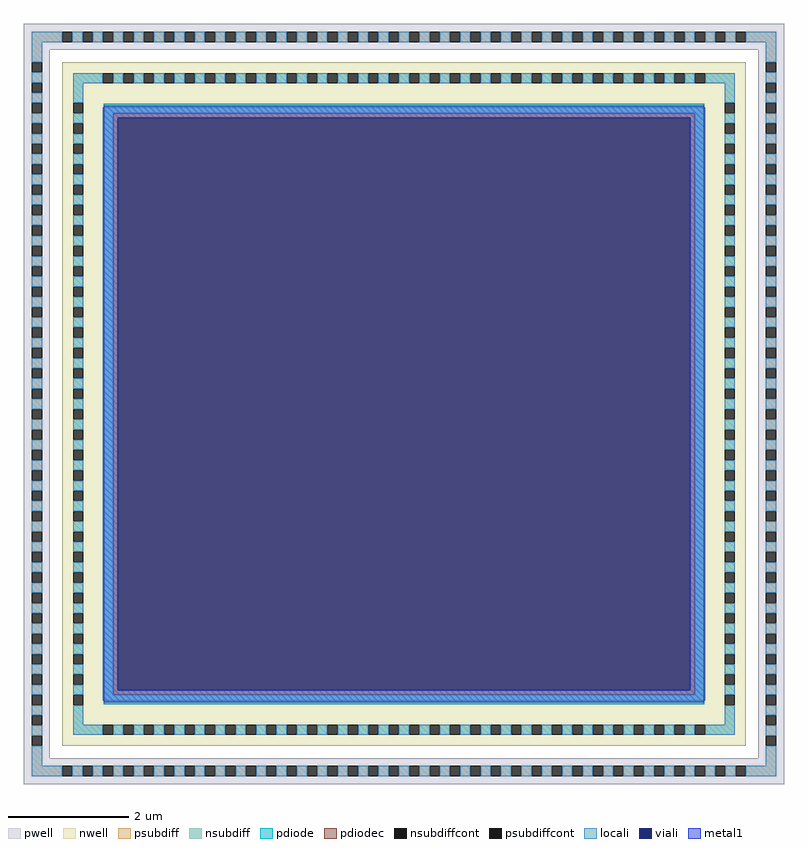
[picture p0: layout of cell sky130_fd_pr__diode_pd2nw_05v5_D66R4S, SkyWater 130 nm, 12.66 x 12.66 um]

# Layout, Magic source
magic
tech sky130A
magscale 1 2
<< nwell >>
rect -1138 -1138 1138 1138
<< pwell >>
rect -1266 1180 1266 1266
rect -1266 -1180 -1180 1180
rect 1180 -1180 1266 1180
rect -1266 -1266 1266 -1180
<< psubdiff >>
rect -1240 1206 -1139 1240
rect -1105 1206 -1071 1240
rect -1037 1206 -1003 1240
rect -969 1206 -935 1240
rect -901 1206 -867 1240
rect -833 1206 -799 1240
rect -765 1206 -731 1240
rect -697 1206 -663 1240
rect -629 1206 -595 1240
rect -561 1206 -527 1240
rect -493 1206 -459 1240
rect -425 1206 -391 1240
rect -357 1206 -323 1240
rect -289 1206 -255 1240
rect -221 1206 -187 1240
rect -153 1206 -119 1240
rect -85 1206 -51 1240
rect -17 1206 17 1240
rect 51 1206 85 1240
rect 119 1206 153 1240
rect 187 1206 221 1240
rect 255 1206 289 1240
rect 323 1206 357 1240
rect 391 1206 425 1240
rect 459 1206 493 1240
rect 527 1206 561 1240
rect 595 1206 629 1240
rect 663 1206 697 1240
rect 731 1206 765 1240
rect 799 1206 833 1240
rect 867 1206 901 1240
rect 935 1206 969 1240
rect 1003 1206 1037 1240
rect 1071 1206 1105 1240
rect 1139 1206 1240 1240
rect -1240 1139 -1206 1206
rect -1240 1071 -1206 1105
rect 1206 1139 1240 1206
rect -1240 1003 -1206 1037
rect -1240 935 -1206 969
rect -1240 867 -1206 901
rect -1240 799 -1206 833
rect -1240 731 -1206 765
rect -1240 663 -1206 697
rect -1240 595 -1206 629
rect -1240 527 -1206 561
rect -1240 459 -1206 493
rect -1240 391 -1206 425
rect -1240 323 -1206 357
rect -1240 255 -1206 289
rect -1240 187 -1206 221
rect -1240 119 -1206 153
rect -1240 51 -1206 85
rect -1240 -17 -1206 17
rect -1240 -85 -1206 -51
rect -1240 -153 -1206 -119
rect -1240 -221 -1206 -187
rect -1240 -289 -1206 -255
rect -1240 -357 -1206 -323
rect -1240 -425 -1206 -391
rect -1240 -493 -1206 -459
rect -1240 -561 -1206 -527
rect -1240 -629 -1206 -595
rect -1240 -697 -1206 -663
rect -1240 -765 -1206 -731
rect -1240 -833 -1206 -799
rect -1240 -901 -1206 -867
rect -1240 -969 -1206 -935
rect -1240 -1037 -1206 -1003
rect -1240 -1105 -1206 -1071
rect 1206 1071 1240 1105
rect 1206 1003 1240 1037
rect 1206 935 1240 969
rect 1206 867 1240 901
rect 1206 799 1240 833
rect 1206 731 1240 765
rect 1206 663 1240 697
rect 1206 595 1240 629
rect 1206 527 1240 561
rect 1206 459 1240 493
rect 1206 391 1240 425
rect 1206 323 1240 357
rect 1206 255 1240 289
rect 1206 187 1240 221
rect 1206 119 1240 153
rect 1206 51 1240 85
rect 1206 -17 1240 17
rect 1206 -85 1240 -51
rect 1206 -153 1240 -119
rect 1206 -221 1240 -187
rect 1206 -289 1240 -255
rect 1206 -357 1240 -323
rect 1206 -425 1240 -391
rect 1206 -493 1240 -459
rect 1206 -561 1240 -527
rect 1206 -629 1240 -595
rect 1206 -697 1240 -663
rect 1206 -765 1240 -731
rect 1206 -833 1240 -799
rect 1206 -901 1240 -867
rect 1206 -969 1240 -935
rect 1206 -1037 1240 -1003
rect -1240 -1206 -1206 -1139
rect 1206 -1105 1240 -1071
rect 1206 -1206 1240 -1139
rect -1240 -1240 -1139 -1206
rect -1105 -1240 -1071 -1206
rect -1037 -1240 -1003 -1206
rect -969 -1240 -935 -1206
rect -901 -1240 -867 -1206
rect -833 -1240 -799 -1206
rect -765 -1240 -731 -1206
rect -697 -1240 -663 -1206
rect -629 -1240 -595 -1206
rect -561 -1240 -527 -1206
rect -493 -1240 -459 -1206
rect -425 -1240 -391 -1206
rect -357 -1240 -323 -1206
rect -289 -1240 -255 -1206
rect -221 -1240 -187 -1206
rect -153 -1240 -119 -1206
rect -85 -1240 -51 -1206
rect -17 -1240 17 -1206
rect 51 -1240 85 -1206
rect 119 -1240 153 -1206
rect 187 -1240 221 -1206
rect 255 -1240 289 -1206
rect 323 -1240 357 -1206
rect 391 -1240 425 -1206
rect 459 -1240 493 -1206
rect 527 -1240 561 -1206
rect 595 -1240 629 -1206
rect 663 -1240 697 -1206
rect 731 -1240 765 -1206
rect 799 -1240 833 -1206
rect 867 -1240 901 -1206
rect 935 -1240 969 -1206
rect 1003 -1240 1037 -1206
rect 1071 -1240 1105 -1206
rect 1139 -1240 1240 -1206
<< nsubdiff >>
rect -1102 1068 -1003 1102
rect -969 1068 -935 1102
rect -901 1068 -867 1102
rect -833 1068 -799 1102
rect -765 1068 -731 1102
rect -697 1068 -663 1102
rect -629 1068 -595 1102
rect -561 1068 -527 1102
rect -493 1068 -459 1102
rect -425 1068 -391 1102
rect -357 1068 -323 1102
rect -289 1068 -255 1102
rect -221 1068 -187 1102
rect -153 1068 -119 1102
rect -85 1068 -51 1102
rect -17 1068 17 1102
rect 51 1068 85 1102
rect 119 1068 153 1102
rect 187 1068 221 1102
rect 255 1068 289 1102
rect 323 1068 357 1102
rect 391 1068 425 1102
rect 459 1068 493 1102
rect 527 1068 561 1102
rect 595 1068 629 1102
rect 663 1068 697 1102
rect 731 1068 765 1102
rect 799 1068 833 1102
rect 867 1068 901 1102
rect 935 1068 969 1102
rect 1003 1068 1102 1102
rect -1102 1003 -1068 1068
rect 1068 1003 1102 1068
rect -1102 935 -1068 969
rect -1102 867 -1068 901
rect -1102 799 -1068 833
rect -1102 731 -1068 765
rect -1102 663 -1068 697
rect -1102 595 -1068 629
rect -1102 527 -1068 561
rect -1102 459 -1068 493
rect -1102 391 -1068 425
rect -1102 323 -1068 357
rect -1102 255 -1068 289
rect -1102 187 -1068 221
rect -1102 119 -1068 153
rect -1102 51 -1068 85
rect -1102 -17 -1068 17
rect -1102 -85 -1068 -51
rect -1102 -153 -1068 -119
rect -1102 -221 -1068 -187
rect -1102 -289 -1068 -255
rect -1102 -357 -1068 -323
rect -1102 -425 -1068 -391
rect -1102 -493 -1068 -459
rect -1102 -561 -1068 -527
rect -1102 -629 -1068 -595
rect -1102 -697 -1068 -663
rect -1102 -765 -1068 -731
rect -1102 -833 -1068 -799
rect -1102 -901 -1068 -867
rect -1102 -969 -1068 -935
rect 1068 935 1102 969
rect 1068 867 1102 901
rect 1068 799 1102 833
rect 1068 731 1102 765
rect 1068 663 1102 697
rect 1068 595 1102 629
rect 1068 527 1102 561
rect 1068 459 1102 493
rect 1068 391 1102 425
rect 1068 323 1102 357
rect 1068 255 1102 289
rect 1068 187 1102 221
rect 1068 119 1102 153
rect 1068 51 1102 85
rect 1068 -17 1102 17
rect 1068 -85 1102 -51
rect 1068 -153 1102 -119
rect 1068 -221 1102 -187
rect 1068 -289 1102 -255
rect 1068 -357 1102 -323
rect 1068 -425 1102 -391
rect 1068 -493 1102 -459
rect 1068 -561 1102 -527
rect 1068 -629 1102 -595
rect 1068 -697 1102 -663
rect 1068 -765 1102 -731
rect 1068 -833 1102 -799
rect 1068 -901 1102 -867
rect 1068 -969 1102 -935
rect -1102 -1068 -1068 -1003
rect 1068 -1068 1102 -1003
rect -1102 -1102 -1003 -1068
rect -969 -1102 -935 -1068
rect -901 -1102 -867 -1068
rect -833 -1102 -799 -1068
rect -765 -1102 -731 -1068
rect -697 -1102 -663 -1068
rect -629 -1102 -595 -1068
rect -561 -1102 -527 -1068
rect -493 -1102 -459 -1068
rect -425 -1102 -391 -1068
rect -357 -1102 -323 -1068
rect -289 -1102 -255 -1068
rect -221 -1102 -187 -1068
rect -153 -1102 -119 -1068
rect -85 -1102 -51 -1068
rect -17 -1102 17 -1068
rect 51 -1102 85 -1068
rect 119 -1102 153 -1068
rect 187 -1102 221 -1068
rect 255 -1102 289 -1068
rect 323 -1102 357 -1068
rect 391 -1102 425 -1068
rect 459 -1102 493 -1068
rect 527 -1102 561 -1068
rect 595 -1102 629 -1068
rect 663 -1102 697 -1068
rect 731 -1102 765 -1068
rect 799 -1102 833 -1068
rect 867 -1102 901 -1068
rect 935 -1102 969 -1068
rect 1003 -1102 1102 -1068
<< psubdiffcont >>
rect -1139 1206 -1105 1240
rect -1071 1206 -1037 1240
rect -1003 1206 -969 1240
rect -935 1206 -901 1240
rect -867 1206 -833 1240
rect -799 1206 -765 1240
rect -731 1206 -697 1240
rect -663 1206 -629 1240
rect -595 1206 -561 1240
rect -527 1206 -493 1240
rect -459 1206 -425 1240
rect -391 1206 -357 1240
rect -323 1206 -289 1240
rect -255 1206 -221 1240
rect -187 1206 -153 1240
rect -119 1206 -85 1240
rect -51 1206 -17 1240
rect 17 1206 51 1240
rect 85 1206 119 1240
rect 153 1206 187 1240
rect 221 1206 255 1240
rect 289 1206 323 1240
rect 357 1206 391 1240
rect 425 1206 459 1240
rect 493 1206 527 1240
rect 561 1206 595 1240
rect 629 1206 663 1240
rect 697 1206 731 1240
rect 765 1206 799 1240
rect 833 1206 867 1240
rect 901 1206 935 1240
rect 969 1206 1003 1240
rect 1037 1206 1071 1240
rect 1105 1206 1139 1240
rect -1240 1105 -1206 1139
rect 1206 1105 1240 1139
rect -1240 1037 -1206 1071
rect -1240 969 -1206 1003
rect -1240 901 -1206 935
rect -1240 833 -1206 867
rect -1240 765 -1206 799
rect -1240 697 -1206 731
rect -1240 629 -1206 663
rect -1240 561 -1206 595
rect -1240 493 -1206 527
rect -1240 425 -1206 459
rect -1240 357 -1206 391
rect -1240 289 -1206 323
rect -1240 221 -1206 255
rect -1240 153 -1206 187
rect -1240 85 -1206 119
rect -1240 17 -1206 51
rect -1240 -51 -1206 -17
rect -1240 -119 -1206 -85
rect -1240 -187 -1206 -153
rect -1240 -255 -1206 -221
rect -1240 -323 -1206 -289
rect -1240 -391 -1206 -357
rect -1240 -459 -1206 -425
rect -1240 -527 -1206 -493
rect -1240 -595 -1206 -561
rect -1240 -663 -1206 -629
rect -1240 -731 -1206 -697
rect -1240 -799 -1206 -765
rect -1240 -867 -1206 -833
rect -1240 -935 -1206 -901
rect -1240 -1003 -1206 -969
rect -1240 -1071 -1206 -1037
rect 1206 1037 1240 1071
rect 1206 969 1240 1003
rect 1206 901 1240 935
rect 1206 833 1240 867
rect 1206 765 1240 799
rect 1206 697 1240 731
rect 1206 629 1240 663
rect 1206 561 1240 595
rect 1206 493 1240 527
rect 1206 425 1240 459
rect 1206 357 1240 391
rect 1206 289 1240 323
rect 1206 221 1240 255
rect 1206 153 1240 187
rect 1206 85 1240 119
rect 1206 17 1240 51
rect 1206 -51 1240 -17
rect 1206 -119 1240 -85
rect 1206 -187 1240 -153
rect 1206 -255 1240 -221
rect 1206 -323 1240 -289
rect 1206 -391 1240 -357
rect 1206 -459 1240 -425
rect 1206 -527 1240 -493
rect 1206 -595 1240 -561
rect 1206 -663 1240 -629
rect 1206 -731 1240 -697
rect 1206 -799 1240 -765
rect 1206 -867 1240 -833
rect 1206 -935 1240 -901
rect 1206 -1003 1240 -969
rect 1206 -1071 1240 -1037
rect -1240 -1139 -1206 -1105
rect 1206 -1139 1240 -1105
rect -1139 -1240 -1105 -1206
rect -1071 -1240 -1037 -1206
rect -1003 -1240 -969 -1206
rect -935 -1240 -901 -1206
rect -867 -1240 -833 -1206
rect -799 -1240 -765 -1206
rect -731 -1240 -697 -1206
rect -663 -1240 -629 -1206
rect -595 -1240 -561 -1206
rect -527 -1240 -493 -1206
rect -459 -1240 -425 -1206
rect -391 -1240 -357 -1206
rect -323 -1240 -289 -1206
rect -255 -1240 -221 -1206
rect -187 -1240 -153 -1206
rect -119 -1240 -85 -1206
rect -51 -1240 -17 -1206
rect 17 -1240 51 -1206
rect 85 -1240 119 -1206
rect 153 -1240 187 -1206
rect 221 -1240 255 -1206
rect 289 -1240 323 -1206
rect 357 -1240 391 -1206
rect 425 -1240 459 -1206
rect 493 -1240 527 -1206
rect 561 -1240 595 -1206
rect 629 -1240 663 -1206
rect 697 -1240 731 -1206
rect 765 -1240 799 -1206
rect 833 -1240 867 -1206
rect 901 -1240 935 -1206
rect 969 -1240 1003 -1206
rect 1037 -1240 1071 -1206
rect 1105 -1240 1139 -1206
<< nsubdiffcont >>
rect -1003 1068 -969 1102
rect -935 1068 -901 1102
rect -867 1068 -833 1102
rect -799 1068 -765 1102
rect -731 1068 -697 1102
rect -663 1068 -629 1102
rect -595 1068 -561 1102
rect -527 1068 -493 1102
rect -459 1068 -425 1102
rect -391 1068 -357 1102
rect -323 1068 -289 1102
rect -255 1068 -221 1102
rect -187 1068 -153 1102
rect -119 1068 -85 1102
rect -51 1068 -17 1102
rect 17 1068 51 1102
rect 85 1068 119 1102
rect 153 1068 187 1102
rect 221 1068 255 1102
rect 289 1068 323 1102
rect 357 1068 391 1102
rect 425 1068 459 1102
rect 493 1068 527 1102
rect 561 1068 595 1102
rect 629 1068 663 1102
rect 697 1068 731 1102
rect 765 1068 799 1102
rect 833 1068 867 1102
rect 901 1068 935 1102
rect 969 1068 1003 1102
rect -1102 969 -1068 1003
rect -1102 901 -1068 935
rect -1102 833 -1068 867
rect -1102 765 -1068 799
rect -1102 697 -1068 731
rect -1102 629 -1068 663
rect -1102 561 -1068 595
rect -1102 493 -1068 527
rect -1102 425 -1068 459
rect -1102 357 -1068 391
rect -1102 289 -1068 323
rect -1102 221 -1068 255
rect -1102 153 -1068 187
rect -1102 85 -1068 119
rect -1102 17 -1068 51
rect -1102 -51 -1068 -17
rect -1102 -119 -1068 -85
rect -1102 -187 -1068 -153
rect -1102 -255 -1068 -221
rect -1102 -323 -1068 -289
rect -1102 -391 -1068 -357
rect -1102 -459 -1068 -425
rect -1102 -527 -1068 -493
rect -1102 -595 -1068 -561
rect -1102 -663 -1068 -629
rect -1102 -731 -1068 -697
rect -1102 -799 -1068 -765
rect -1102 -867 -1068 -833
rect -1102 -935 -1068 -901
rect -1102 -1003 -1068 -969
rect 1068 969 1102 1003
rect 1068 901 1102 935
rect 1068 833 1102 867
rect 1068 765 1102 799
rect 1068 697 1102 731
rect 1068 629 1102 663
rect 1068 561 1102 595
rect 1068 493 1102 527
rect 1068 425 1102 459
rect 1068 357 1102 391
rect 1068 289 1102 323
rect 1068 221 1102 255
rect 1068 153 1102 187
rect 1068 85 1102 119
rect 1068 17 1102 51
rect 1068 -51 1102 -17
rect 1068 -119 1102 -85
rect 1068 -187 1102 -153
rect 1068 -255 1102 -221
rect 1068 -323 1102 -289
rect 1068 -391 1102 -357
rect 1068 -459 1102 -425
rect 1068 -527 1102 -493
rect 1068 -595 1102 -561
rect 1068 -663 1102 -629
rect 1068 -731 1102 -697
rect 1068 -799 1102 -765
rect 1068 -867 1102 -833
rect 1068 -935 1102 -901
rect 1068 -1003 1102 -969
rect -1003 -1102 -969 -1068
rect -935 -1102 -901 -1068
rect -867 -1102 -833 -1068
rect -799 -1102 -765 -1068
rect -731 -1102 -697 -1068
rect -663 -1102 -629 -1068
rect -595 -1102 -561 -1068
rect -527 -1102 -493 -1068
rect -459 -1102 -425 -1068
rect -391 -1102 -357 -1068
rect -323 -1102 -289 -1068
rect -255 -1102 -221 -1068
rect -187 -1102 -153 -1068
rect -119 -1102 -85 -1068
rect -51 -1102 -17 -1068
rect 17 -1102 51 -1068
rect 85 -1102 119 -1068
rect 153 -1102 187 -1068
rect 221 -1102 255 -1068
rect 289 -1102 323 -1068
rect 357 -1102 391 -1068
rect 425 -1102 459 -1068
rect 493 -1102 527 -1068
rect 561 -1102 595 -1068
rect 629 -1102 663 -1068
rect 697 -1102 731 -1068
rect 765 -1102 799 -1068
rect 833 -1102 867 -1068
rect 901 -1102 935 -1068
rect 969 -1102 1003 -1068
<< pdiode >>
rect -1000 969 1000 1000
rect -1000 -969 -969 969
rect 969 -969 1000 969
rect -1000 -1000 1000 -969
<< pdiodec >>
rect -969 -969 969 969
<< locali >>
rect -1240 1206 -1139 1240
rect -1105 1206 -1071 1240
rect -1037 1206 -1003 1240
rect -969 1206 -935 1240
rect -901 1206 -867 1240
rect -833 1206 -799 1240
rect -765 1206 -731 1240
rect -697 1206 -663 1240
rect -629 1206 -595 1240
rect -561 1206 -527 1240
rect -493 1206 -459 1240
rect -425 1206 -391 1240
rect -357 1206 -323 1240
rect -289 1206 -255 1240
rect -221 1206 -187 1240
rect -153 1206 -119 1240
rect -85 1206 -51 1240
rect -17 1206 17 1240
rect 51 1206 85 1240
rect 119 1206 153 1240
rect 187 1206 221 1240
rect 255 1206 289 1240
rect 323 1206 357 1240
rect 391 1206 425 1240
rect 459 1206 493 1240
rect 527 1206 561 1240
rect 595 1206 629 1240
rect 663 1206 697 1240
rect 731 1206 765 1240
rect 799 1206 833 1240
rect 867 1206 901 1240
rect 935 1206 969 1240
rect 1003 1206 1037 1240
rect 1071 1206 1105 1240
rect 1139 1206 1240 1240
rect -1240 1139 -1206 1206
rect -1240 1071 -1206 1105
rect 1206 1139 1240 1206
rect -1240 1003 -1206 1037
rect -1240 935 -1206 969
rect -1240 867 -1206 901
rect -1240 799 -1206 833
rect -1240 731 -1206 765
rect -1240 663 -1206 697
rect -1240 595 -1206 629
rect -1240 527 -1206 561
rect -1240 459 -1206 493
rect -1240 391 -1206 425
rect -1240 323 -1206 357
rect -1240 255 -1206 289
rect -1240 187 -1206 221
rect -1240 119 -1206 153
rect -1240 51 -1206 85
rect -1240 -17 -1206 17
rect -1240 -85 -1206 -51
rect -1240 -153 -1206 -119
rect -1240 -221 -1206 -187
rect -1240 -289 -1206 -255
rect -1240 -357 -1206 -323
rect -1240 -425 -1206 -391
rect -1240 -493 -1206 -459
rect -1240 -561 -1206 -527
rect -1240 -629 -1206 -595
rect -1240 -697 -1206 -663
rect -1240 -765 -1206 -731
rect -1240 -833 -1206 -799
rect -1240 -901 -1206 -867
rect -1240 -969 -1206 -935
rect -1240 -1037 -1206 -1003
rect -1240 -1105 -1206 -1071
rect -1102 1068 -1003 1102
rect -969 1068 -935 1102
rect -901 1068 -867 1102
rect -833 1068 -799 1102
rect -765 1068 -731 1102
rect -697 1068 -663 1102
rect -629 1068 -595 1102
rect -561 1068 -527 1102
rect -493 1068 -459 1102
rect -425 1068 -391 1102
rect -357 1068 -323 1102
rect -289 1068 -255 1102
rect -221 1068 -187 1102
rect -153 1068 -119 1102
rect -85 1068 -51 1102
rect -17 1068 17 1102
rect 51 1068 85 1102
rect 119 1068 153 1102
rect 187 1068 221 1102
rect 255 1068 289 1102
rect 323 1068 357 1102
rect 391 1068 425 1102
rect 459 1068 493 1102
rect 527 1068 561 1102
rect 595 1068 629 1102
rect 663 1068 697 1102
rect 731 1068 765 1102
rect 799 1068 833 1102
rect 867 1068 901 1102
rect 935 1068 969 1102
rect 1003 1068 1102 1102
rect -1102 1003 -1068 1068
rect 1068 1003 1102 1068
rect -1102 935 -1068 969
rect -1102 867 -1068 901
rect -1102 799 -1068 833
rect -1102 731 -1068 765
rect -1102 663 -1068 697
rect -1102 595 -1068 629
rect -1102 527 -1068 561
rect -1102 459 -1068 493
rect -1102 391 -1068 425
rect -1102 323 -1068 357
rect -1102 255 -1068 289
rect -1102 187 -1068 221
rect -1102 119 -1068 153
rect -1102 51 -1068 85
rect -1102 -17 -1068 17
rect -1102 -85 -1068 -51
rect -1102 -153 -1068 -119
rect -1102 -221 -1068 -187
rect -1102 -289 -1068 -255
rect -1102 -357 -1068 -323
rect -1102 -425 -1068 -391
rect -1102 -493 -1068 -459
rect -1102 -561 -1068 -527
rect -1102 -629 -1068 -595
rect -1102 -697 -1068 -663
rect -1102 -765 -1068 -731
rect -1102 -833 -1068 -799
rect -1102 -901 -1068 -867
rect -1102 -969 -1068 -935
rect -1004 969 1004 988
rect -1004 -969 -969 969
rect 969 -969 1004 969
rect -1004 -988 1004 -969
rect 1068 935 1102 969
rect 1068 867 1102 901
rect 1068 799 1102 833
rect 1068 731 1102 765
rect 1068 663 1102 697
rect 1068 595 1102 629
rect 1068 527 1102 561
rect 1068 459 1102 493
rect 1068 391 1102 425
rect 1068 323 1102 357
rect 1068 255 1102 289
rect 1068 187 1102 221
rect 1068 119 1102 153
rect 1068 51 1102 85
rect 1068 -17 1102 17
rect 1068 -85 1102 -51
rect 1068 -153 1102 -119
rect 1068 -221 1102 -187
rect 1068 -289 1102 -255
rect 1068 -357 1102 -323
rect 1068 -425 1102 -391
rect 1068 -493 1102 -459
rect 1068 -561 1102 -527
rect 1068 -629 1102 -595
rect 1068 -697 1102 -663
rect 1068 -765 1102 -731
rect 1068 -833 1102 -799
rect 1068 -901 1102 -867
rect 1068 -969 1102 -935
rect -1102 -1068 -1068 -1003
rect 1068 -1068 1102 -1003
rect -1102 -1102 -1003 -1068
rect -969 -1102 -935 -1068
rect -901 -1102 -867 -1068
rect -833 -1102 -799 -1068
rect -765 -1102 -731 -1068
rect -697 -1102 -663 -1068
rect -629 -1102 -595 -1068
rect -561 -1102 -527 -1068
rect -493 -1102 -459 -1068
rect -425 -1102 -391 -1068
rect -357 -1102 -323 -1068
rect -289 -1102 -255 -1068
rect -221 -1102 -187 -1068
rect -153 -1102 -119 -1068
rect -85 -1102 -51 -1068
rect -17 -1102 17 -1068
rect 51 -1102 85 -1068
rect 119 -1102 153 -1068
rect 187 -1102 221 -1068
rect 255 -1102 289 -1068
rect 323 -1102 357 -1068
rect 391 -1102 425 -1068
rect 459 -1102 493 -1068
rect 527 -1102 561 -1068
rect 595 -1102 629 -1068
rect 663 -1102 697 -1068
rect 731 -1102 765 -1068
rect 799 -1102 833 -1068
rect 867 -1102 901 -1068
rect 935 -1102 969 -1068
rect 1003 -1102 1102 -1068
rect 1206 1071 1240 1105
rect 1206 1003 1240 1037
rect 1206 935 1240 969
rect 1206 867 1240 901
rect 1206 799 1240 833
rect 1206 731 1240 765
rect 1206 663 1240 697
rect 1206 595 1240 629
rect 1206 527 1240 561
rect 1206 459 1240 493
rect 1206 391 1240 425
rect 1206 323 1240 357
rect 1206 255 1240 289
rect 1206 187 1240 221
rect 1206 119 1240 153
rect 1206 51 1240 85
rect 1206 -17 1240 17
rect 1206 -85 1240 -51
rect 1206 -153 1240 -119
rect 1206 -221 1240 -187
rect 1206 -289 1240 -255
rect 1206 -357 1240 -323
rect 1206 -425 1240 -391
rect 1206 -493 1240 -459
rect 1206 -561 1240 -527
rect 1206 -629 1240 -595
rect 1206 -697 1240 -663
rect 1206 -765 1240 -731
rect 1206 -833 1240 -799
rect 1206 -901 1240 -867
rect 1206 -969 1240 -935
rect 1206 -1037 1240 -1003
rect -1240 -1206 -1206 -1139
rect 1206 -1105 1240 -1071
rect 1206 -1206 1240 -1139
rect -1240 -1240 -1139 -1206
rect -1105 -1240 -1071 -1206
rect -1037 -1240 -1003 -1206
rect -969 -1240 -935 -1206
rect -901 -1240 -867 -1206
rect -833 -1240 -799 -1206
rect -765 -1240 -731 -1206
rect -697 -1240 -663 -1206
rect -629 -1240 -595 -1206
rect -561 -1240 -527 -1206
rect -493 -1240 -459 -1206
rect -425 -1240 -391 -1206
rect -357 -1240 -323 -1206
rect -289 -1240 -255 -1206
rect -221 -1240 -187 -1206
rect -153 -1240 -119 -1206
rect -85 -1240 -51 -1206
rect -17 -1240 17 -1206
rect 51 -1240 85 -1206
rect 119 -1240 153 -1206
rect 187 -1240 221 -1206
rect 255 -1240 289 -1206
rect 323 -1240 357 -1206
rect 391 -1240 425 -1206
rect 459 -1240 493 -1206
rect 527 -1240 561 -1206
rect 595 -1240 629 -1206
rect 663 -1240 697 -1206
rect 731 -1240 765 -1206
rect 799 -1240 833 -1206
rect 867 -1240 901 -1206
rect 935 -1240 969 -1206
rect 1003 -1240 1037 -1206
rect 1071 -1240 1105 -1206
rect 1139 -1240 1240 -1206
<< viali >>
rect -953 -953 953 953
<< metal1 >>
rect -1000 953 1000 994
rect -1000 -953 -953 953
rect 953 -953 1000 953
rect -1000 -994 1000 -953
<< properties >>
string FIXED_BBOX -1084 -1084 1084 1084
<< end >>
